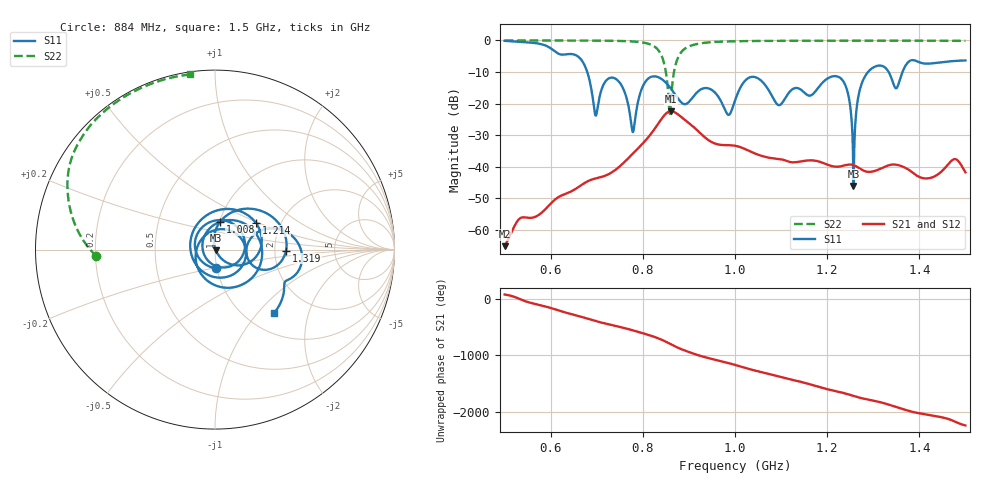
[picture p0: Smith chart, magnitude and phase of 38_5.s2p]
! TOUCHSTONE file generated by CST MICROWAVE STUDIO
! Date and time: Mon Nov 30 08:09:08 2020
! Project name: Scenario_1_Planar_Body_Tissue_Out_of_Line.cst
! Parameters = {dy1=294.1; L_HA=400; Ltissue=700; MT=2.54; Rad_Dielectric=30; Rad_Lower=7.3; Rad_Upper=30; Wtissue=700; a_HA=580; a_WG=246; b_HA=500; b_WG=121; c_HA=0; c_WG=187; d_feed=85; dx1=866; h_feed=15; h_lower=18; h_upper=40; hfat=3; hgap=25; hmuscle=50; hskin=1.5}
! Header version: 2018
! Port assignment regex: !\s*Touchstone port\s*([0-9]+)\s*=\s*(CST MWS port|CST DS port)\s*([0-9]+|Zmin|Zmax)\s*\(\"(.*)\"\)(\s*mode\s*([0-9]+))?.*
! Touchstone port assignment:
! Touchstone port 1 = CST MWS port 1 ("")
! Touchstone port 2 = CST MWS port 2 ("")
# GHz S DB R 50
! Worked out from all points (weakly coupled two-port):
!   1003 points, 500 MHz to 1.5 GHz, reference 50 ohm
!   highest |S21| = -22.38 dB at 861 MHz (marker M1); lowest = -65.1 dB at 500 MHz (marker M2)
!   lowest |S11| = -46.1 dB at 1.257 GHz (marker M3), VSWR 1.01, Z = 50.4 - j0.293 ohm
!   |S11| at or under -10 dB: 679.4 MHz to 1.289 GHz (609.3 MHz wide, 61.9 % of centre); 1.333 GHz to 1.364 GHz (30.04 MHz wide, 2.23 % of centre)
!   |S22| runs from -24.0 to 0.0 dB; largest |S21 - S12| = 6e-05
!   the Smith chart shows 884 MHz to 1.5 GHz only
!   S11 on the Smith chart (normalised r, x): 884 MHz: 0.98, -0.21; 1.008 GHz: 1.01, +0.32; 1.214 GHz: 1.50, +0.48; 1.319 GHz: 2.31, -0.03; 1.5 GHz: 1.34, -1.23
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0.5  -0.12 -122.1  -65.12 82.7  -65.12 82.7  -0.01 151.2
0.583  -1.32 -167.2  -54.18 -117.0  -54.19 -117.0  -0.02 145.4
0.667  -6.24 125.4  -45.75 45.3  -45.75 45.3  -0.04 138.4
0.697  -23.68 132.0  -43.70 -27.0  -43.70 -27.0  -0.06 135.2
0.738  -11.92 139.8  -41.23 -109.4  -41.23 -109.4  -0.13 129.7
0.778  -29.01 135.4  -35.88 167.3  -35.88 167.3  -0.33 121.1
0.802  -13.92 160.8  -32.27 110.2  -32.27 110.2  -0.71 112.0
0.834  -11.67 77.8  -26.22 23.4  -26.22 23.4  -3.16 84.8
0.861  -15.28 -0.0  -22.38 -82.5  -22.38 -82.5  -19.32 -108.5
0.884  -19.68 -88.4  -24.30 -169.5  -24.30 -169.5  -3.59 -176.7
1  -19.03 112.1  -33.33 -88.5  -33.33 -88.5  -0.27 140.3
1.008  -16.03 79.4  -33.61 -108.1  -33.61 -108.1  -0.25 139.3
1.057  -12.76 -67.1  -36.51 143.9  -36.51 143.9  -0.16 133.8
1.094  -20.45 150.6  -37.51 69.2  -37.51 69.2  -0.13 130.3
1.167  -17.22 177.0  -37.95 -83.2  -37.95 -83.2  -0.10 124.3
1.214  -11.31 33.2  -39.89 174.5  -39.89 174.5  -0.09 120.6
1.242  -15.16 -29.4  -39.40 118.5  -39.40 118.5  -0.09 118.5
1.257  -46.08 -35.8  -39.46 80.9  -39.46 80.9  -0.09 117.4
1.277  -12.89 65.9  -41.06 37.1  -41.06 37.1  -0.08 115.9
1.319  -8.05 -0.8  -40.38 -38.3  -40.38 -38.3  -0.08 112.7
1.334  -10.13 -21.1  -39.50 -74.0  -39.50 -74.0  -0.09 111.6
1.5  -6.33 -46.9  -41.74 -83.6  -41.74 -83.6  -0.13 98.0
